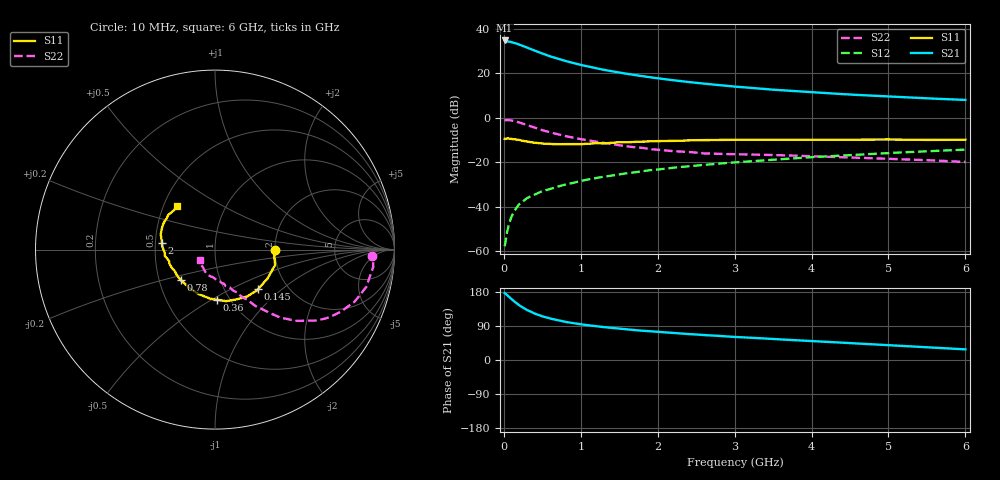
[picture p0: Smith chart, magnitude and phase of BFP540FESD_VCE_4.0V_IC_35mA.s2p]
! Infineon Technologies  Discrete & RF Semiconductors
! BFP540FESD
! VCE =  4.0 V,  IC =  35 mA
! Common Emitter S-Parameters:  Nov 2015
# GHz  S  MA  R  50
!  f  S11  S21  S12  S22
! GHz  MAG  ANG  MAG  ANG  MAG  ANG  MAG  ANG
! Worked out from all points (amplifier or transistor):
!   210 points, 10 MHz to 6 GHz, reference 50 ohm
!   highest |S21| = 34.7 dB at 10 MHz (marker M1)
!   |S21| within 3 dB of that: start of sweep to 287.2 MHz
!   unconditionally stable (mu >= 1): start of sweep to 32.93 MHz; 1.479 GHz to end of sweep
!   at 185 MHz: K = 0.47, MSG = 36.3 dB, |S12| = -39.5 dB
!   at 1.52 GHz: K = 1.00, MAG = 22.3 dB, |S12| = -25.3 dB
!   at 6 GHz: K = 1.16, MAG = 8.8 dB, |S12| = -14.3 dB
!   S11 on the Smith chart (normalised r, x): 10 MHz: 2.00, -0.02; 145 MHz: 1.43, -0.70; 360 MHz: 0.87, -0.53; 780 MHz: 0.65, -0.24; 2 GHz: 0.54, +0.04; 6 GHz: 0.59, +0.32
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0.01  0.3342 -0.6  54.31 176.6  0.0013 45.6  0.8735 -2.5
0.02  0.3325 -6.7  51.96 175.4  0.0015 67.1  0.8799 -1.3
0.05  0.3458 -14.2  51.91 169.9  0.0031 70.8  0.887 -6.2
0.1  0.3342 -28.6  49.68 160.6  0.006 75.1  0.868 -13.9
0.145  0.3257 -42.6  47.53 153.1  0.0084 74.1  0.8332 -19.8
0.2  0.3169 -55.4  44.01 144.4  0.0114 72.7  0.7812 -26.3
0.24  0.3041 -64.5  41.37 139.3  0.0128 70.6  0.7427 -30.3
0.3  0.2937 -77.9  37.7 132.0  0.0155 68.6  0.6846 -35.3
0.36  0.2792 -88.1  34.21 126.7  0.0175 68.3  0.6316 -38.9
0.4  0.2749 -95.4  32.07 122.5  0.0188 68.2  0.5979 -41.6
0.5  0.2639 -110.1  27.64 115.2  0.0223 67.7  0.5235 -46.2
0.6  0.2579 -120.9  23.92 109.5  0.0249 67.8  0.4678 -49.1
0.78  0.2547 -138.0  19.26 101.6  0.0308 66.9  0.3936 -53.8
1.02  0.2559 -153.3  15.06 93.8  0.0385 67.2  0.3255 -57.9
1.2  0.2662 -163.0  12.86 89.1  0.0442 67.4  0.2889 -61.4
1.5  0.2817 -172.7  10.32 82.6  0.0535 65.7  0.2414 -67.2
2  0.2984 173.3  7.668 74.1  0.0683 63.9  0.1912 -78.3
2.02  0.2986 173.1  7.594 73.8  0.069 63.8  0.1898 -78.6
3.1  0.3191 157.8  4.85 59.9  0.1017 57.6  0.1503 -100.3
4.1  0.3215 150.1  3.64 48.9  0.1325 51.4  0.1346 -113.9
5.1  0.3226 142.0  2.938 38.0  0.1637 43.6  0.1174 -126.6
6  0.3194 130.9  2.508 28.1  0.1917 36.2  0.1011 -145.5
